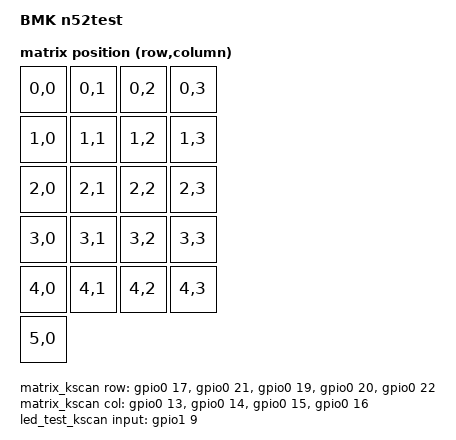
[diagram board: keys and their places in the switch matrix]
/*
 * Copyright (c) 2026 The ZMK Contributors
 * SPDX-License-Identifier: MIT
 */

/dts-v1/;

#include <nordic/nrf52840_qiaa.dtsi>
#include <common/nordic/nrf52840_uf2_boot_mode.dtsi>
#include <dt-bindings/zmk/matrix_transform.h>
#include <zephyr/dt-bindings/input/input-event-codes.h>
#include <zephyr/dt-bindings/pwm/pwm.h>

#include "n52test-pinctrl.dtsi"
#include "n52test_layouts.dtsi"

/ {
    model = "BMK n52test";
    compatible = "bmk,n52test";

    chosen {
        zephyr,code-partition = &code_partition;
        zephyr,settings-partition = &storage_partition;
        zephyr,sram = &sram0;
        zephyr,flash = &flash0;
        zmk,kscan = &kscan0;
        zmk,physical-layout = &layout_n52test;
        zmk,led-matrix = &trackball_led_matrix;
    };

    matrix_transform0: matrix_transform_0 {
        compatible = "zmk,matrix-transform";
        columns = <4>;
        rows = <6>;
        map = <
            RC(0,0) RC(0,1) RC(0,2) RC(0,3)
            RC(1,0) RC(1,1) RC(1,2) RC(1,3)
            RC(2,0) RC(2,1) RC(2,2) RC(2,3)
            RC(3,0) RC(3,1) RC(3,2) RC(3,3)
            RC(4,0) RC(4,1) RC(4,2) RC(4,3)
            RC(5,0)
        >;
    };

    kscan0: kscan_composite {
        compatible = "zmk,kscan-composite";
        rows = <6>;
        columns = <4>;
        wakeup-source;

        matrix {
            kscan = <&matrix_kscan>;
        };

        led_test_key {
            kscan = <&led_test_kscan>;
            row-offset = <5>;
        };
    };

    matrix_kscan: matrix_kscan {
        compatible = "zmk,kscan-gpio-matrix";
        diode-direction = "row2col";
        wakeup-source;

        row-gpios
            = <&gpio0 17 GPIO_ACTIVE_HIGH>
            , <&gpio0 21 GPIO_ACTIVE_HIGH>
            , <&gpio0 19 GPIO_ACTIVE_HIGH>
            , <&gpio0 20 GPIO_ACTIVE_HIGH>
            , <&gpio0 22 GPIO_ACTIVE_HIGH>
            ;

        col-gpios
            = <&gpio0 13 (GPIO_ACTIVE_HIGH | GPIO_PULL_DOWN)>
            , <&gpio0 14 (GPIO_ACTIVE_HIGH | GPIO_PULL_DOWN)>
            , <&gpio0 15 (GPIO_ACTIVE_HIGH | GPIO_PULL_DOWN)>
            , <&gpio0 16 (GPIO_ACTIVE_HIGH | GPIO_PULL_DOWN)>
            ;
    };

    led_test_kscan: led_test_kscan {
        compatible = "zmk,kscan-gpio-direct";
        wakeup-source;
        input-gpios = <&gpio1 9 (GPIO_ACTIVE_LOW | GPIO_PULL_UP)>;
    };

    trackball: trackball {
        compatible = "sparkfun,blackberry-trackballer";
        left-gpios = <&gpio0 26 GPIO_ACTIVE_HIGH>;
        right-gpios = <&gpio0 25 GPIO_ACTIVE_HIGH>;
        up-gpios = <&gpio0 28 GPIO_ACTIVE_HIGH>;
        down-gpios = <&gpio0 27 GPIO_ACTIVE_HIGH>;
        button-gpios = <&gpio1 6 (GPIO_ACTIVE_LOW | GPIO_PULL_UP)>;
        zephyr,axis-x = <INPUT_REL_X>;
        zephyr,axis-y = <INPUT_REL_Y>;
        button-code = <INPUT_BTN_0>;
        report-period-ms = <4>;
        interpolation-frames = <4>;
        debounce-interval-ms = <5>;
        acceleration-start-hz = <5>;
        acceleration-max-hz = <30>;
        acceleration-exponent = <2>;
        minimum-step = <1>;
        maximum-step = <8>;
    };

    trackball_speed: trackball_speed {
        compatible = "zmk,input-processor-speed-profile";
        #input-processor-cells = <0>;
        type = <INPUT_EV_REL>;
        codes = <INPUT_REL_X INPUT_REL_Y>;
        speed-percentages = <150 300 450 600 900>;
        default-speed-level = <2>;
        persist-speed-level;
        track-remainders;
    };

    trackball_listener: trackball_listener {
        compatible = "zmk,input-listener";
        device = <&trackball>;
        input-processors = <&trackball_speed>;
    };

    behaviors {
        tbspd: trackball_speed_behavior {
            compatible = "zmk,behavior-input-speed";
            #binding-cells = <2>;
            display-name = "Trackball Speed";
            processor = <&trackball_speed>;
        };
    };

    trackball_leds: trackball_leds {
        compatible = "pwm-leds";

        wht {
            label = "Trackball WHT";
            pwms = <&pwm0 0 PWM_MSEC(1) PWM_POLARITY_NORMAL>;
        };

        grn {
            label = "Trackball GRN";
            pwms = <&pwm0 1 PWM_MSEC(1) PWM_POLARITY_NORMAL>;
        };

        red {
            label = "Trackball RED";
            pwms = <&pwm0 2 PWM_MSEC(1) PWM_POLARITY_NORMAL>;
        };

        blu {
            label = "Trackball BLU";
            pwms = <&pwm0 3 PWM_MSEC(1) PWM_POLARITY_NORMAL>;
        };
    };

    trackball_led_matrix: trackball_led_matrix {
        compatible = "zmk,led-matrix";
        led-driver = "matrix";
        led-device = <&trackball_leds>;
        led-count = <4>;
        led-indexes = <0 1 2 3>;

        trackball_group: independent0 {
            independent-id = <0>;
            independent-leds = <0 1 2 3>;

            profile0 {
                profile-id = <0>;
                renderer = "solid";
                colors = <0xFFFFFF 0xFFFFFF 0xFFFFFF 0xFFFFFF>;
                brightness = <25>;
                period-ms = <1000>;
            };

            profile1 {
                profile-id = <1>;
                renderer = "solid";
                colors = <0xFFFFFF 0x000000 0x000000 0x000000>;
                brightness = <25>;
                period-ms = <1000>;
            };

            profile2 {
                profile-id = <2>;
                renderer = "solid";
                colors = <0x000000 0xFFFFFF 0x000000 0x000000>;
                brightness = <25>;
                period-ms = <1000>;
            };

            profile3 {
                profile-id = <3>;
                renderer = "solid";
                colors = <0x000000 0x000000 0xFFFFFF 0x000000>;
                brightness = <25>;
                period-ms = <1000>;
            };

            profile4 {
                profile-id = <4>;
                renderer = "solid";
                colors = <0x000000 0x000000 0x000000 0xFFFFFF>;
                brightness = <25>;
                period-ms = <1000>;
            };

            profile5 {
                profile-id = <5>;
                renderer = "solid";
                colors = <0x000000 0x000000 0x000000 0x000000>;
                brightness = <100>;
                period-ms = <1000>;
            };
        };
    };
};

&reg0 {
    status = "okay";
};

&reg1 {
    regulator-initial-mode = <NRF5X_REG_MODE_DCDC>;
};

&gpiote {
    status = "okay";
};

&gpio0 {
    status = "okay";
};

&gpio1 {
    status = "okay";
};

&uicr {
    gpio-as-nreset;
};

&pwm0 {
    status = "okay";
    pinctrl-0 = <&n52test_pwm0_default>;
    pinctrl-1 = <&n52test_pwm0_sleep>;
    pinctrl-names = "default", "sleep";
};

zephyr_udc0: &usbd {
    status = "okay";
};

&flash0 {
    partitions {
        compatible = "fixed-partitions";
        #address-cells = <1>;
        #size-cells = <1>;

        sd_partition: partition@0 {
            label = "mbr";
            reg = <0x00000000 0x00001000>;
        };

        code_partition: partition@1000 {
            label = "code_partition";
            reg = <0x00001000 0x000d3000>;
        };

        storage_partition: partition@d4000 {
            label = "storage";
            reg = <0x000d4000 0x00020000>;
        };

        boot_partition: partition@f4000 {
            label = "adafruit_boot";
            reg = <0x000f4000 0x0000c000>;
        };
    };
};
